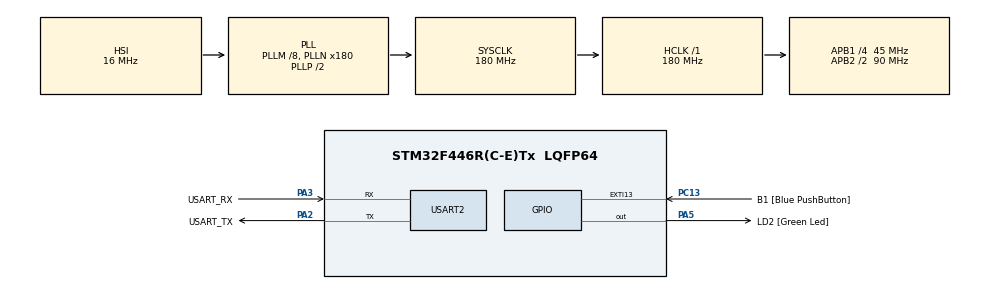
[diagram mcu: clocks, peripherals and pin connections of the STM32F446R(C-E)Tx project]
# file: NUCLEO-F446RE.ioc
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Mcu.Family=STM32F4
Mcu.Name=STM32F446R(C-E)Tx
Mcu.Package=LQFP64
NVIC.PriorityGroup=NVIC_PRIORITYGROUP_4
PA13.GPIO_Label=TMS
PA13.Signal=SYS_JTMS-SWDIO
PA14.GPIO_Label=TCK
PA14.Signal=SYS_JTCK-SWCLK
PA2.GPIO_Label=USART_TX
PA2.Mode=Asynchronous
PA2.Signal=USART2_TX
PA3.GPIO_Label=USART_RX
PA3.GPIO_PuPd=GPIO_PULLUP
PA3.Mode=Asynchronous
PA3.Signal=USART2_RX
PA5.GPIO_Label=LD2 [Green Led]
PA5.Signal=GPIO_Output
PB3.GPIO_Label=SWO
PB3.Signal=SYS_JTDO-SWO
PC13.GPIO_Label=B1 [Blue PushButton]
PC13.GPIO_ModeDefaultEXTI=GPIO_MODE_IT_FALLING
PC13.Signal=GPXTI13
PC14-OSC32_IN.Signal=RCC_OSC32_IN
PC15-OSC32_OUT.Signal=RCC_OSC32_OUT
PH0-OSC_IN.Signal=RCC_OSC_IN
PH1-OSC_OUT.Signal=RCC_OSC_OUT
ProjectManager.HeapSize=0x800
ProjectManager.StackSize=0x2000
ProjectManager.TargetToolchain=STM32CubeIDE
RCC.AHBFreq_Value=180000000
RCC.APB1CLKDivider=RCC_HCLK_DIV4
RCC.APB1Freq_Value=45000000
RCC.APB1TimFreq_Value=90000000
RCC.APB2CLKDivider=RCC_HCLK_DIV2
RCC.APB2Freq_Value=90000000
RCC.APB2TimFreq_Value=180000000
RCC.CortexFreq_Value=180000000
RCC.FLatency-AdvancedSettings=FLASH_LATENCY_5
RCC.HCLKFreq_Value=180000000
RCC.HSE_VALUE=8000000
RCC.HSI_VALUE=16000000
RCC.LSE_VALUE=32768
RCC.PLLM=8
RCC.PLLN=180
RCC.PLLP=2
RCC.PLLSourceVirtual=RCC_PLLSOURCE_HSI
RCC.SYSCLKFreq_VALUE=180000000
RCC.SYSCLKSource=RCC_SYSCLKSOURCE_PLLCLK
RCC.USBFreq_Value=180000000
RCC.VCOOutputFreq_Value=360000000
USART2.VirtualMode=VM_ASYNC
board=NUCLEO-F446RE

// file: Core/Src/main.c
/* USER CODE BEGIN Header */
/**
  ******************************************************************************
  * @file           : main.c
  * @brief          : Main program body
  ******************************************************************************
  * @attention
  *
  * Copyright (c) 2025 STMicroelectronics.
  * All rights reserved.
  *
  * This software is licensed under terms that can be found in the LICENSE file
  * in the root directory of this software component.
  * If no LICENSE file comes with this software, it is provided AS-IS.
  *
  ******************************************************************************
  */
/* USER CODE END Header */
#include "main.h"
#include "network.h"
#include "stai.h"

/* USER CODE BEGIN PD */
#define SYNC_BYTE 0xBB
#define IMG_SIZE_28 28
#define IMG_SIZE_32 32
#define IMG_BYTES 784
#define IN_SIZE 3072
/* USER CODE END PD */

UART_HandleTypeDef huart2;

/* USER CODE BEGIN PV */
/* Network buffers */
STAI_ALIGNED(8) static uint8_t net_ctx[STAI_NETWORK_CONTEXT_SIZE];
STAI_ALIGNED(4) static uint8_t acts[STAI_NETWORK_ACTIVATION_1_SIZE_BYTES];
static stai_ptr act_ptrs[] = {acts};

STAI_ALIGNED(4) static float in_buf[IN_SIZE];
STAI_ALIGNED(4) static float out_buf[10];
static stai_ptr in_ptrs[] = {(stai_ptr)in_buf};
static stai_ptr out_ptrs[] = {(stai_ptr)out_buf};

static uint8_t img_buf[IMG_BYTES];
/* USER CODE END PV */

void SystemClock_Config(void);
static void MX_GPIO_Init(void);
void MX_USART2_UART_Init(void);
/* USER CODE BEGIN PFP */
static void PrepareInput(uint8_t *img28, float *in32);
static int AI_Init(void);
static uint8_t ArgMax(float *d, int n);
/* USER CODE END PFP */

/* USER CODE BEGIN 0 */

/* Bilinear interpolation resize 28x28 -> 32x32, grayscale -> RGB, normalize */
static void PrepareInput(uint8_t *img28, float *in32) {
  int x32, y32, c;
  float scale = 28.0f / 32.0f;

  for (y32 = 0; y32 < IMG_SIZE_32; y32++) {
    for (x32 = 0; x32 < IMG_SIZE_32; x32++) {
      /* Map 32x32 coord to 28x28 */
      float src_x = x32 * scale;
      float src_y = y32 * scale;

      int x0 = (int)src_x;
      int y0 = (int)src_y;
      int x1 = (x0 < IMG_SIZE_28 - 1) ? x0 + 1 : x0;
      int y1 = (y0 < IMG_SIZE_28 - 1) ? y0 + 1 : y0;

      float dx = src_x - x0;
      float dy = src_y - y0;

      /* Bilinear interpolation */
      float p00 = img28[y0 * IMG_SIZE_28 + x0];
      float p10 = img28[y0 * IMG_SIZE_28 + x1];
      float p01 = img28[y1 * IMG_SIZE_28 + x0];
      float p11 = img28[y1 * IMG_SIZE_28 + x1];

      float val = p00 * (1 - dx) * (1 - dy) +
                  p10 * dx * (1 - dy) +
                  p01 * (1 - dx) * dy +
                  p11 * dx * dy;

      /* Normalize to [0,1] */
      float norm_val = val / 255.0f;

      /* Replicate to RGB channels (HWC format: 32x32x3) */
      int idx = (y32 * IMG_SIZE_32 + x32) * 3;
      for (c = 0; c < 3; c++) {
        in32[idx + c] = norm_val;
      }
    }
  }
}

static int AI_Init(void) {
  if (stai_network_init((stai_network *)net_ctx) != STAI_SUCCESS)
    return -1;
  if (stai_network_set_activations((stai_network *)net_ctx, act_ptrs, 1) !=
      STAI_SUCCESS)
    return -1;
  if (stai_network_set_inputs((stai_network *)net_ctx, in_ptrs, 1) !=
      STAI_SUCCESS)
    return -1;
  if (stai_network_set_outputs((stai_network *)net_ctx, out_ptrs, 1) !=
      STAI_SUCCESS)
    return -1;
  return 0;
}

static uint8_t ArgMax(float *d, int n) {
  uint8_t m = 0;
  for (int i = 1; i < n; i++)
    if (d[i] > d[m])
      m = i;
  return m;
}

/* USER CODE END 0 */

int main(void) {
  /* USER CODE BEGIN 1 */
  uint8_t sync, res;
  /* USER CODE END 1 */

  /* MCU Configuration--------------------------------------------------------*/

  /* Reset of all peripherals, Initializes the Flash interface and the Systick. */
  HAL_Init();

  /* Configure the system clock */
  SystemClock_Config();

  /* Initialize all configured peripherals */
  MX_GPIO_Init();
  MX_USART2_UART_Init();

  /* USER CODE BEGIN 2 */
  if (AI_Init() != 0) {
    while (1) {
      HAL_GPIO_TogglePin(LD2_GPIO_Port, LD2_Pin);
      HAL_Delay(100);
    }
  }
  HAL_GPIO_WritePin(LD2_GPIO_Port, LD2_Pin, GPIO_PIN_SET);
  /* USER CODE END 2 */

  /* Infinite loop */
  /* USER CODE BEGIN WHILE */
  while (1) {
    if (HAL_UART_Receive(&huart2, &sync, 1, HAL_MAX_DELAY) == HAL_OK &&
        sync == SYNC_BYTE) {
      HAL_GPIO_WritePin(LD2_GPIO_Port, LD2_Pin, GPIO_PIN_RESET);

      if (HAL_UART_Receive(&huart2, img_buf, IMG_BYTES, 5000) == HAL_OK) {
        PrepareInput(img_buf, in_buf);

        if (stai_network_run((stai_network *)net_ctx, STAI_MODE_SYNC) ==
            STAI_SUCCESS) {
          res = ArgMax(out_buf, 10);
        } else {
          res = 0xFF;
        }
        HAL_UART_Transmit(&huart2, &res, 1, 100);
      }
      HAL_GPIO_WritePin(LD2_GPIO_Port, LD2_Pin, GPIO_PIN_SET);
    }
    /* USER CODE END WHILE */

  }
}

void SystemClock_Config(void) {
  RCC_OscInitTypeDef RCC_OscInitStruct = {0};
  RCC_ClkInitTypeDef RCC_ClkInitStruct = {0};

  /** Configure the main internal regulator output voltage
  */
  __HAL_RCC_PWR_CLK_ENABLE();
  __HAL_PWR_VOLTAGESCALING_CONFIG(PWR_REGULATOR_VOLTAGE_SCALE1);

  /** Initializes the RCC Oscillators according to the specified parameters
  * in the RCC_OscInitTypeDef structure.
  */
  RCC_OscInitStruct.OscillatorType = RCC_OSCILLATORTYPE_HSI;
  RCC_OscInitStruct.HSIState = RCC_HSI_ON;
  RCC_OscInitStruct.HSICalibrationValue = RCC_HSICALIBRATION_DEFAULT;
  RCC_OscInitStruct.PLL.PLLState = RCC_PLL_ON;
  RCC_OscInitStruct.PLL.PLLSource = RCC_PLLSOURCE_HSI;
  RCC_OscInitStruct.PLL.PLLM = 8;
  RCC_OscInitStruct.PLL.PLLN = 180;
  RCC_OscInitStruct.PLL.PLLP = 2;
  RCC_OscInitStruct.PLL.PLLQ = 2;
  RCC_OscInitStruct.PLL.PLLR = 2;
  if (HAL_RCC_OscConfig(&RCC_OscInitStruct) != HAL_OK) {
    Error_Handler();
  }

  /** Activate the Over-Drive mode
  */
  if (HAL_PWREx_EnableOverDrive() != HAL_OK) {
    Error_Handler();
  }

  /** Initializes the CPU, AHB and APB buses clocks
  */
  RCC_ClkInitStruct.ClockType = RCC_CLOCKTYPE_HCLK | RCC_CLOCKTYPE_SYSCLK |
                                RCC_CLOCKTYPE_PCLK1 | RCC_CLOCKTYPE_PCLK2;
  RCC_ClkInitStruct.SYSCLKSource = RCC_SYSCLKSOURCE_PLLCLK;
  RCC_ClkInitStruct.AHBCLKDivider = RCC_SYSCLK_DIV1;
  RCC_ClkInitStruct.APB1CLKDivider = RCC_HCLK_DIV4;
  RCC_ClkInitStruct.APB2CLKDivider = RCC_HCLK_DIV2;

  if (HAL_RCC_ClockConfig(&RCC_ClkInitStruct, FLASH_LATENCY_5) != HAL_OK) {
    Error_Handler();
  }
}

void MX_USART2_UART_Init(void) {

  huart2.Instance = USART2;
  huart2.Init.BaudRate = 115200;
  huart2.Init.WordLength = UART_WORDLENGTH_8B;
  huart2.Init.StopBits = UART_STOPBITS_1;
  huart2.Init.Parity = UART_PARITY_NONE;
  huart2.Init.Mode = UART_MODE_TX_RX;
  huart2.Init.HwFlowCtl = UART_HWCONTROL_NONE;
  huart2.Init.OverSampling = UART_OVERSAMPLING_16;
  if (HAL_UART_Init(&huart2) != HAL_OK) {
    Error_Handler();
  }
}

static void MX_GPIO_Init(void) {
  GPIO_InitTypeDef GPIO_InitStruct = {0};

  /* GPIO Ports Clock Enable */
  __HAL_RCC_GPIOC_CLK_ENABLE();
  __HAL_RCC_GPIOH_CLK_ENABLE();
  __HAL_RCC_GPIOA_CLK_ENABLE();
  __HAL_RCC_GPIOB_CLK_ENABLE();

  /*Configure GPIO pin Output Level */
  HAL_GPIO_WritePin(LD2_GPIO_Port, LD2_Pin, GPIO_PIN_RESET);

  /*Configure GPIO pin : B1_Pin */
  GPIO_InitStruct.Pin = B1_Pin;
  GPIO_InitStruct.Mode = GPIO_MODE_IT_FALLING;
  GPIO_InitStruct.Pull = GPIO_NOPULL;
  HAL_GPIO_Init(B1_GPIO_Port, &GPIO_InitStruct);

  /*Configure GPIO pin : LD2_Pin */
  GPIO_InitStruct.Pin = LD2_Pin;
  GPIO_InitStruct.Mode = GPIO_MODE_OUTPUT_PP;
  GPIO_InitStruct.Pull = GPIO_NOPULL;
  GPIO_InitStruct.Speed = GPIO_SPEED_FREQ_LOW;
  HAL_GPIO_Init(LD2_GPIO_Port, &GPIO_InitStruct);

}

void Error_Handler(void) {
  __disable_irq();
  while (1) {
  }
}

#ifdef USE_FULL_ASSERT
/**
  * @brief  Reports the name of the source file and the source line number
  *         where the assert_param error has occurred.
  * @param  file: pointer to the source file name
  * @param  line: assert_param error line source number
  * @retval None
  */
void assert_failed(uint8_t *file, uint32_t line) {
  /* USER CODE BEGIN 6 */
  /* User can add his own implementation to report the file name and line
     number, ex: printf("Wrong parameters value: file %s on line %d\r\n", file,
     line) */
  /* USER CODE END 6 */
}
#endif /* USE_FULL_ASSERT */
